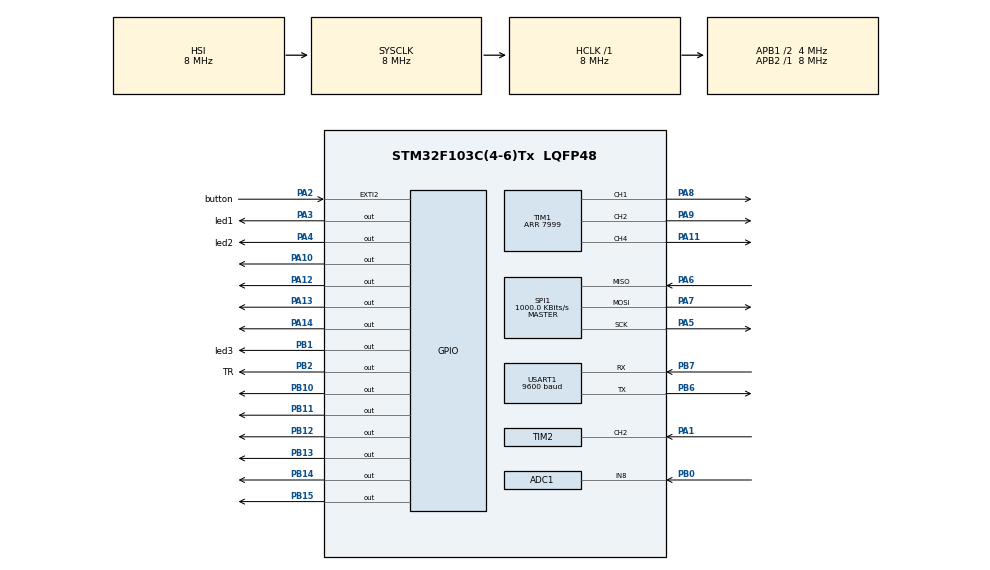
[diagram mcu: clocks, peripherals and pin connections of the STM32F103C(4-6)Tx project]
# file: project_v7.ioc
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ADC1.Channel-7\#ChannelRegularConversion=ADC_CHANNEL_8
ADC1.ContinuousConvMode=DISABLE
ADC1.EnableRegularConversion=ENABLE
ADC1.ExternalTrigConv=ADC_EXTERNALTRIGCONV_T3_TRGO
ADC1.NbrOfConversionFlag=1
ADC1.Rank-7\#ChannelRegularConversion=1
ADC1.SamplingTime-7\#ChannelRegularConversion=ADC_SAMPLETIME_55CYCLES_5
ADC1.master=1
Dma.Request0=SPI1_RX
Dma.SPI1_RX.0.Direction=DMA_PERIPH_TO_MEMORY
Dma.SPI1_RX.0.Instance=DMA1_Channel2
Dma.SPI1_RX.0.MemDataAlignment=DMA_MDATAALIGN_BYTE
Dma.SPI1_RX.0.MemInc=DMA_MINC_ENABLE
Dma.SPI1_RX.0.Mode=DMA_CIRCULAR
Dma.SPI1_RX.0.PeriphDataAlignment=DMA_PDATAALIGN_BYTE
Dma.SPI1_RX.0.PeriphInc=DMA_PINC_DISABLE
Dma.SPI1_RX.0.Priority=DMA_PRIORITY_LOW
Mcu.Family=STM32F1
Mcu.Name=STM32F103C(4-6)Tx
Mcu.Package=LQFP48
NVIC.ADC1_2_IRQn=true\:3\:0\:true\:false\:true\:true\:true
NVIC.DMA1_Channel2_IRQn=true\:0\:0\:false\:false\:true\:false\:true
NVIC.EXTI2_IRQn=true\:1\:0\:true\:false\:true\:true\:true
NVIC.PriorityGroup=NVIC_PRIORITYGROUP_4
NVIC.TIM2_IRQn=true\:4\:0\:true\:false\:true\:true\:true
NVIC.TIM3_IRQn=true\:2\:0\:true\:false\:true\:true\:true
PA1.Signal=S_TIM2_CH2
PA10.Signal=GPIO_Output
PA11.Signal=S_TIM1_CH4
PA12.Signal=GPIO_Output
PA13.Signal=GPIO_Output
PA14.Signal=GPIO_Output
PA2.GPIO_Label=button
PA2.GPIO_PuPd=GPIO_PULLDOWN
PA2.Signal=GPXTI2
PA3.GPIO_Label=led1
PA3.Signal=GPIO_Output
PA4.GPIO_Label=led2
PA4.Signal=GPIO_Output
PA5.Mode=Full_Duplex_Master
PA5.Signal=SPI1_SCK
PA6.Mode=Full_Duplex_Master
PA6.Signal=SPI1_MISO
PA7.Mode=Full_Duplex_Master
PA7.Signal=SPI1_MOSI
PA8.Signal=S_TIM1_CH1
PA9.Signal=S_TIM1_CH2
PB0.Signal=ADCx_IN8
PB1.GPIO_Label=led3
PB1.Signal=GPIO_Output
PB10.Signal=GPIO_Output
PB11.Signal=GPIO_Output
PB12.Signal=GPIO_Output
PB13.Signal=GPIO_Output
PB14.Signal=GPIO_Output
PB15.Signal=GPIO_Output
PB2.GPIO_Label=TR
PB2.Signal=GPIO_Output
PB6.Mode=Asynchronous
PB6.Signal=USART1_TX
PB7.Mode=Asynchronous
PB7.Signal=USART1_RX
PD0-OSC_IN.Mode=HSE-External-Oscillator
PD0-OSC_IN.Signal=RCC_OSC_IN
PD1-OSC_OUT.Mode=HSE-External-Oscillator
PD1-OSC_OUT.Signal=RCC_OSC_OUT
ProjectManager.HeapSize=0x200
ProjectManager.StackSize=0x400
ProjectManager.TargetToolchain=MDK-ARM V5.32
RCC.AHBFreq_Value=8000000
RCC.APB1CLKDivider=RCC_HCLK_DIV2
RCC.APB1Freq_Value=4000000
RCC.APB1TimFreq_Value=8000000
RCC.APB2Freq_Value=8000000
RCC.APB2TimFreq_Value=8000000
RCC.HCLKFreq_Value=8000000
RCC.PLLMUL=RCC_PLL_MUL9
RCC.SYSCLKFreq_VALUE=8000000
RCC.USBFreq_Value=36000000
SH.ADCx_IN8.0=ADC1_IN8,IN8
SH.S_TIM1_CH1.0=TIM1_CH1,PWM Generation1 CH1
SH.S_TIM1_CH2.0=TIM1_CH2,PWM Generation2 CH2
SH.S_TIM1_CH4.0=TIM1_CH4,Output Compare4 CH4
SH.S_TIM2_CH2.0=TIM2_CH2,Input_Capture2_from_TI2
SPI1.BaudRatePrescaler=SPI_BAUDRATEPRESCALER_8
SPI1.CalculateBaudRate=1000.0 KBits/s
SPI1.Direction=SPI_DIRECTION_2LINES
SPI1.Mode=SPI_MODE_MASTER
SPI1.VirtualType=VM_MASTER
TIM1.Channel-Output\ Compare4\ CH4=TIM_CHANNEL_4
TIM1.Channel-PWM\ Generation1\ CH1=TIM_CHANNEL_1
TIM1.Channel-PWM\ Generation2\ CH2=TIM_CHANNEL_2
TIM1.OCMode_4=TIM_OCMODE_TOGGLE
TIM1.Period=7999
TIM2.Channel-Input_Capture2_from_TI2=TIM_CHANNEL_2
TIM2.Period=65534
TIM2.Prescaler=7
TIM3.AutoReloadPreload=TIM_AUTORELOAD_PRELOAD_ENABLE
TIM3.Period=63999
TIM3.Prescaler=124
TIM3.TIM_MasterOutputTrigger=TIM_TRGO_UPDATE
TIM3.TIM_MasterSlaveMode=TIM_MASTERSLAVEMODE_ENABLE
USART1.BaudRate=9600
USART1.Mode=MODE_TX
USART1.VirtualMode=VM_ASYNC
VP_SYS_VS_ND.Mode=No_Debug
VP_TIM1_VS_ClockSourceINT.Mode=Internal
VP_TIM3_VS_ClockSourceINT.Mode=Internal
board=custom

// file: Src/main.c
/* USER CODE BEGIN Header */
/**
  ******************************************************************************
  * @file           : main.c
  * @brief          : Main program body
  ******************************************************************************
  * @attention
  *
  * Copyright (c) 2022 STMicroelectronics.
  * All rights reserved.
  *
  * This software is licensed under terms that can be found in the LICENSE file
  * in the root directory of this software component.
  * If no LICENSE file comes with this software, it is provided AS-IS.
  *
  ******************************************************************************
  */
/* USER CODE END Header */
#include "main.h"

/* USER CODE BEGIN Includes */
#include "lcd_txt.h"
#include <math.h>
#include <stdbool.h>
#include <stdio.h>
#include <string.h>
#include "functions.h"
/* USER CODE END Includes */

ADC_HandleTypeDef hadc1;

SPI_HandleTypeDef hspi1;
DMA_HandleTypeDef hdma_spi1_rx;

TIM_HandleTypeDef htim1;
TIM_HandleTypeDef htim2;
TIM_HandleTypeDef htim3;

UART_HandleTypeDef huart1;

/* USER CODE BEGIN PV */
bool start = false;
uint32_t ADCVal = 0;

uint32_t IC_Val1 = 0;
uint32_t IC_Val2 = 0;
uint32_t Difference = 0;
uint8_t Is_First_Captured = 0;
uint8_t Distance  = 0;

int night = 0;
/* USER CODE END PV */

void SystemClock_Config(void);
static void MX_GPIO_Init(void);
static void MX_ADC1_Init(void);
static void MX_TIM1_Init(void);
static void MX_USART1_UART_Init(void);
static void MX_TIM2_Init(void);
static void MX_TIM3_Init(void);
static void MX_DMA_Init(void);
static void MX_SPI1_Init(void);

/* USER CODE BEGIN 0 */

void Delay(uint16_t time) {
	__HAL_TIM_SET_COUNTER(&htim2, 0);
	while (__HAL_TIM_GET_COUNTER (&htim2) < time);
}

void HCSR04_Read(void) {
	HAL_GPIO_WritePin(TR_GPIO_Port, TR_Pin, GPIO_PIN_SET);
	Delay(10);
	HAL_GPIO_WritePin(TR_GPIO_Port, TR_Pin, GPIO_PIN_RESET);

	__HAL_TIM_ENABLE_IT(&htim2, TIM_IT_CC2);
}

//Movement of robot
void TurnRight() {
	TIM1->CCR1 = 4000;
	TIM1->CCR2 = 7999;

	lcd_clear();
	lcd_puts(0, 0, (int8_t *) "Turning right");
}

void TurnLeft() {
	TIM1->CCR1 = 7999;
	TIM1->CCR2 = 4000;

	lcd_clear();
	lcd_puts(0, 0, (int8_t *) "Turning left");
}

void MoveForward() {
	TIM1->CCR1 = 0;
	TIM1->CCR2 = 0;

	lcd_clear();
	lcd_puts(0, 0, (int8_t *) "Moving forward");
}

void Stop() {
	TIM1->CCR1 = 7999;
	TIM1->CCR2 = 7999;

	lcd_clear();
	lcd_puts(0, 0, (int8_t *) "Stopped");
}

/* USER CODE END 0 */

int main(void)
{

  /* MCU Configuration--------------------------------------------------------*/

  /* Reset of all peripherals, Initializes the Flash interface and the Systick. */
  HAL_Init();

  /* Configure the system clock */
  SystemClock_Config();

  /* Initialize all configured peripherals */
  MX_GPIO_Init();
  MX_ADC1_Init();
  MX_TIM1_Init();
  MX_USART1_UART_Init();
  MX_TIM2_Init();
  MX_TIM3_Init();
  MX_DMA_Init();
  MX_SPI1_Init();

  /* Infinite loop */
  /* USER CODE BEGIN WHILE */

	//SPI
	HAL_GPIO_WritePin(GPIOB, GPIO_PIN_13, GPIO_PIN_SET);
	HAL_GPIO_WritePin(GPIOB, GPIO_PIN_14, GPIO_PIN_SET);

	//Initialize Motors
	if(HAL_TIM_PWM_Start(&htim1, TIM_CHANNEL_1) != HAL_OK)
		Error_Handler();
	if(HAL_TIM_PWM_Start(&htim1, TIM_CHANNEL_2) != HAL_OK)
		Error_Handler();
	Stop();

	//ADC
	if(HAL_TIM_Base_Start_IT(&htim3) != HAL_OK)
				Error_Handler();

	if(HAL_TIM_OC_Start(&htim1, TIM_CHANNEL_4) != HAL_OK)
				Error_Handler();

	//Distance
	if(HAL_TIM_IC_Start_IT(&htim2, TIM_CHANNEL_2) != HAL_OK)
		Error_Handler();

	initialize();

	lcd_init();

  while (1)
  {
    /* USER CODE END WHILE */

  }
}

void SystemClock_Config(void)
{
  RCC_OscInitTypeDef RCC_OscInitStruct = {0};
  RCC_ClkInitTypeDef RCC_ClkInitStruct = {0};
  RCC_PeriphCLKInitTypeDef PeriphClkInit = {0};

  /** Initializes the RCC Oscillators according to the specified parameters
  * in the RCC_OscInitTypeDef structure.
  */
  RCC_OscInitStruct.OscillatorType = RCC_OSCILLATORTYPE_HSI;
  RCC_OscInitStruct.HSIState = RCC_HSI_ON;
  RCC_OscInitStruct.HSICalibrationValue = RCC_HSICALIBRATION_DEFAULT;
  RCC_OscInitStruct.PLL.PLLState = RCC_PLL_NONE;
  if (HAL_RCC_OscConfig(&RCC_OscInitStruct) != HAL_OK)
  {
    Error_Handler();
  }
  /** Initializes the CPU, AHB and APB buses clocks
  */
  RCC_ClkInitStruct.ClockType = RCC_CLOCKTYPE_HCLK|RCC_CLOCKTYPE_SYSCLK
                              |RCC_CLOCKTYPE_PCLK1|RCC_CLOCKTYPE_PCLK2;
  RCC_ClkInitStruct.SYSCLKSource = RCC_SYSCLKSOURCE_HSI;
  RCC_ClkInitStruct.AHBCLKDivider = RCC_SYSCLK_DIV1;
  RCC_ClkInitStruct.APB1CLKDivider = RCC_HCLK_DIV2;
  RCC_ClkInitStruct.APB2CLKDivider = RCC_HCLK_DIV1;

  if (HAL_RCC_ClockConfig(&RCC_ClkInitStruct, FLASH_LATENCY_0) != HAL_OK)
  {
    Error_Handler();
  }
  PeriphClkInit.PeriphClockSelection = RCC_PERIPHCLK_ADC;
  PeriphClkInit.AdcClockSelection = RCC_ADCPCLK2_DIV2;
  if (HAL_RCCEx_PeriphCLKConfig(&PeriphClkInit) != HAL_OK)
  {
    Error_Handler();
  }
}

static void MX_ADC1_Init(void)
{

  ADC_ChannelConfTypeDef sConfig = {0};

  /** Common config
  */
  hadc1.Instance = ADC1;
  hadc1.Init.ScanConvMode = ADC_SCAN_DISABLE;
  hadc1.Init.ContinuousConvMode = DISABLE;
  hadc1.Init.DiscontinuousConvMode = DISABLE;
  hadc1.Init.ExternalTrigConv = ADC_EXTERNALTRIGCONV_T3_TRGO;
  hadc1.Init.DataAlign = ADC_DATAALIGN_RIGHT;
  hadc1.Init.NbrOfConversion = 1;
  if (HAL_ADC_Init(&hadc1) != HAL_OK)
  {
    Error_Handler();
  }
  /** Configure Regular Channel
  */
  sConfig.Channel = ADC_CHANNEL_8;
  sConfig.Rank = ADC_REGULAR_RANK_1;
  sConfig.SamplingTime = ADC_SAMPLETIME_55CYCLES_5;
  if (HAL_ADC_ConfigChannel(&hadc1, &sConfig) != HAL_OK)
  {
    Error_Handler();
  }

}

static void MX_SPI1_Init(void)
{

  /* SPI1 parameter configuration*/
  hspi1.Instance = SPI1;
  hspi1.Init.Mode = SPI_MODE_MASTER;
  hspi1.Init.Direction = SPI_DIRECTION_2LINES;
  hspi1.Init.DataSize = SPI_DATASIZE_8BIT;
  hspi1.Init.CLKPolarity = SPI_POLARITY_LOW;
  hspi1.Init.CLKPhase = SPI_PHASE_1EDGE;
  hspi1.Init.NSS = SPI_NSS_SOFT;
  hspi1.Init.BaudRatePrescaler = SPI_BAUDRATEPRESCALER_8;
  hspi1.Init.FirstBit = SPI_FIRSTBIT_MSB;
  hspi1.Init.TIMode = SPI_TIMODE_DISABLE;
  hspi1.Init.CRCCalculation = SPI_CRCCALCULATION_DISABLE;
  hspi1.Init.CRCPolynomial = 10;
  if (HAL_SPI_Init(&hspi1) != HAL_OK)
  {
    Error_Handler();
  }

}

static void MX_TIM1_Init(void)
{

  TIM_ClockConfigTypeDef sClockSourceConfig = {0};
  TIM_MasterConfigTypeDef sMasterConfig = {0};
  TIM_OC_InitTypeDef sConfigOC = {0};
  TIM_BreakDeadTimeConfigTypeDef sBreakDeadTimeConfig = {0};

  htim1.Instance = TIM1;
  htim1.Init.Prescaler = 0;
  htim1.Init.CounterMode = TIM_COUNTERMODE_UP;
  htim1.Init.Period = 7999;
  htim1.Init.ClockDivision = TIM_CLOCKDIVISION_DIV1;
  htim1.Init.RepetitionCounter = 0;
  htim1.Init.AutoReloadPreload = TIM_AUTORELOAD_PRELOAD_DISABLE;
  if (HAL_TIM_Base_Init(&htim1) != HAL_OK)
  {
    Error_Handler();
  }
  sClockSourceConfig.ClockSource = TIM_CLOCKSOURCE_INTERNAL;
  if (HAL_TIM_ConfigClockSource(&htim1, &sClockSourceConfig) != HAL_OK)
  {
    Error_Handler();
  }
  if (HAL_TIM_PWM_Init(&htim1) != HAL_OK)
  {
    Error_Handler();
  }
  if (HAL_TIM_OC_Init(&htim1) != HAL_OK)
  {
    Error_Handler();
  }
  sMasterConfig.MasterOutputTrigger = TIM_TRGO_RESET;
  sMasterConfig.MasterSlaveMode = TIM_MASTERSLAVEMODE_DISABLE;
  if (HAL_TIMEx_MasterConfigSynchronization(&htim1, &sMasterConfig) != HAL_OK)
  {
    Error_Handler();
  }
  sConfigOC.OCMode = TIM_OCMODE_PWM1;
  sConfigOC.Pulse = 0;
  sConfigOC.OCPolarity = TIM_OCPOLARITY_HIGH;
  sConfigOC.OCNPolarity = TIM_OCNPOLARITY_HIGH;
  sConfigOC.OCFastMode = TIM_OCFAST_DISABLE;
  sConfigOC.OCIdleState = TIM_OCIDLESTATE_RESET;
  sConfigOC.OCNIdleState = TIM_OCNIDLESTATE_RESET;
  if (HAL_TIM_PWM_ConfigChannel(&htim1, &sConfigOC, TIM_CHANNEL_1) != HAL_OK)
  {
    Error_Handler();
  }
  if (HAL_TIM_PWM_ConfigChannel(&htim1, &sConfigOC, TIM_CHANNEL_2) != HAL_OK)
  {
    Error_Handler();
  }
  sConfigOC.OCMode = TIM_OCMODE_TOGGLE;
  if (HAL_TIM_OC_ConfigChannel(&htim1, &sConfigOC, TIM_CHANNEL_4) != HAL_OK)
  {
    Error_Handler();
  }
  sBreakDeadTimeConfig.OffStateRunMode = TIM_OSSR_DISABLE;
  sBreakDeadTimeConfig.OffStateIDLEMode = TIM_OSSI_DISABLE;
  sBreakDeadTimeConfig.LockLevel = TIM_LOCKLEVEL_OFF;
  sBreakDeadTimeConfig.DeadTime = 0;
  sBreakDeadTimeConfig.BreakState = TIM_BREAK_DISABLE;
  sBreakDeadTimeConfig.BreakPolarity = TIM_BREAKPOLARITY_HIGH;
  sBreakDeadTimeConfig.AutomaticOutput = TIM_AUTOMATICOUTPUT_DISABLE;
  if (HAL_TIMEx_ConfigBreakDeadTime(&htim1, &sBreakDeadTimeConfig) != HAL_OK)
  {
    Error_Handler();
  }
  HAL_TIM_MspPostInit(&htim1);

}

static void MX_TIM2_Init(void)
{

  TIM_MasterConfigTypeDef sMasterConfig = {0};
  TIM_IC_InitTypeDef sConfigIC = {0};

  htim2.Instance = TIM2;
  htim2.Init.Prescaler = 7;
  htim2.Init.CounterMode = TIM_COUNTERMODE_UP;
  htim2.Init.Period = 65534;
  htim2.Init.ClockDivision = TIM_CLOCKDIVISION_DIV1;
  htim2.Init.AutoReloadPreload = TIM_AUTORELOAD_PRELOAD_DISABLE;
  if (HAL_TIM_IC_Init(&htim2) != HAL_OK)
  {
    Error_Handler();
  }
  sMasterConfig.MasterOutputTrigger = TIM_TRGO_RESET;
  sMasterConfig.MasterSlaveMode = TIM_MASTERSLAVEMODE_DISABLE;
  if (HAL_TIMEx_MasterConfigSynchronization(&htim2, &sMasterConfig) != HAL_OK)
  {
    Error_Handler();
  }
  sConfigIC.ICPolarity = TIM_INPUTCHANNELPOLARITY_RISING;
  sConfigIC.ICSelection = TIM_ICSELECTION_DIRECTTI;
  sConfigIC.ICPrescaler = TIM_ICPSC_DIV1;
  sConfigIC.ICFilter = 0;
  if (HAL_TIM_IC_ConfigChannel(&htim2, &sConfigIC, TIM_CHANNEL_2) != HAL_OK)
  {
    Error_Handler();
  }

}

static void MX_TIM3_Init(void)
{

  TIM_ClockConfigTypeDef sClockSourceConfig = {0};
  TIM_MasterConfigTypeDef sMasterConfig = {0};

  htim3.Instance = TIM3;
  htim3.Init.Prescaler = 124;
  htim3.Init.CounterMode = TIM_COUNTERMODE_UP;
  htim3.Init.Period = 63999;
  htim3.Init.ClockDivision = TIM_CLOCKDIVISION_DIV1;
  htim3.Init.AutoReloadPreload = TIM_AUTORELOAD_PRELOAD_ENABLE;
  if (HAL_TIM_Base_Init(&htim3) != HAL_OK)
  {
    Error_Handler();
  }
  sClockSourceConfig.ClockSource = TIM_CLOCKSOURCE_INTERNAL;
  if (HAL_TIM_ConfigClockSource(&htim3, &sClockSourceConfig) != HAL_OK)
  {
    Error_Handler();
  }
  sMasterConfig.MasterOutputTrigger = TIM_TRGO_UPDATE;
  sMasterConfig.MasterSlaveMode = TIM_MASTERSLAVEMODE_ENABLE;
  if (HAL_TIMEx_MasterConfigSynchronization(&htim3, &sMasterConfig) != HAL_OK)
  {
    Error_Handler();
  }

}

static void MX_USART1_UART_Init(void)
{

  huart1.Instance = USART1;
  huart1.Init.BaudRate = 9600;
  huart1.Init.WordLength = UART_WORDLENGTH_8B;
  huart1.Init.StopBits = UART_STOPBITS_1;
  huart1.Init.Parity = UART_PARITY_NONE;
  huart1.Init.Mode = UART_MODE_TX;
  huart1.Init.HwFlowCtl = UART_HWCONTROL_NONE;
  huart1.Init.OverSampling = UART_OVERSAMPLING_16;
  if (HAL_UART_Init(&huart1) != HAL_OK)
  {
    Error_Handler();
  }

}

static void MX_DMA_Init(void)
{

  /* DMA controller clock enable */
  __HAL_RCC_DMA1_CLK_ENABLE();

  /* DMA interrupt init */
  /* DMA1_Channel2_IRQn interrupt configuration */
  HAL_NVIC_SetPriority(DMA1_Channel2_IRQn, 0, 0);
  HAL_NVIC_EnableIRQ(DMA1_Channel2_IRQn);

}

static void MX_GPIO_Init(void)
{
  GPIO_InitTypeDef GPIO_InitStruct = {0};

  /* GPIO Ports Clock Enable */
  __HAL_RCC_GPIOD_CLK_ENABLE();
  __HAL_RCC_GPIOA_CLK_ENABLE();
  __HAL_RCC_GPIOB_CLK_ENABLE();

  /*Configure GPIO pin Output Level */
  HAL_GPIO_WritePin(GPIOA, led1_Pin|led2_Pin|GPIO_PIN_10|GPIO_PIN_12
                          |GPIO_PIN_13|GPIO_PIN_14, GPIO_PIN_RESET);

  /*Configure GPIO pin Output Level */
  HAL_GPIO_WritePin(GPIOB, led3_Pin|TR_Pin|GPIO_PIN_10|GPIO_PIN_11
                          |GPIO_PIN_12|GPIO_PIN_13|GPIO_PIN_14|GPIO_PIN_15, GPIO_PIN_RESET);

  /*Configure GPIO pin : button_Pin */
  GPIO_InitStruct.Pin = button_Pin;
  GPIO_InitStruct.Mode = GPIO_MODE_IT_RISING;
  GPIO_InitStruct.Pull = GPIO_PULLDOWN;
  HAL_GPIO_Init(button_GPIO_Port, &GPIO_InitStruct);

  /*Configure GPIO pins : led1_Pin led2_Pin PA10 PA12
                           PA13 PA14 */
  GPIO_InitStruct.Pin = led1_Pin|led2_Pin|GPIO_PIN_10|GPIO_PIN_12
                          |GPIO_PIN_13|GPIO_PIN_14;
  GPIO_InitStruct.Mode = GPIO_MODE_OUTPUT_PP;
  GPIO_InitStruct.Pull = GPIO_NOPULL;
  GPIO_InitStruct.Speed = GPIO_SPEED_FREQ_LOW;
  HAL_GPIO_Init(GPIOA, &GPIO_InitStruct);

  /*Configure GPIO pins : led3_Pin TR_Pin PB10 PB11
                           PB12 PB13 PB14 PB15 */
  GPIO_InitStruct.Pin = led3_Pin|TR_Pin|GPIO_PIN_10|GPIO_PIN_11
                          |GPIO_PIN_12|GPIO_PIN_13|GPIO_PIN_14|GPIO_PIN_15;
  GPIO_InitStruct.Mode = GPIO_MODE_OUTPUT_PP;
  GPIO_InitStruct.Pull = GPIO_NOPULL;
  GPIO_InitStruct.Speed = GPIO_SPEED_FREQ_LOW;
  HAL_GPIO_Init(GPIOB, &GPIO_InitStruct);

  /* EXTI interrupt init*/
  HAL_NVIC_SetPriority(EXTI2_IRQn, 1, 0);
  HAL_NVIC_EnableIRQ(EXTI2_IRQn);

}

/* USER CODE BEGIN 4 */

void HAL_GPIO_EXTI_Callback(uint16_t GPIO_Pin)
{
	if(GPIO_Pin == button_Pin) {
		if (start == false) {
			start = true;
		}
		else {
			HAL_GPIO_WritePin(led3_GPIO_Port, led3_Pin, GPIO_PIN_RESET);
			start = false;
		}
  }
}

void HAL_TIM_PeriodElapsedCallback(TIM_HandleTypeDef *htim)
{
	HAL_GPIO_TogglePin(GPIOB, GPIO_PIN_15);
	if(HAL_ADC_Start_IT(&hadc1) != HAL_OK)
				Error_Handler();

	//SPI
	char spi_buf[1];
	HAL_GPIO_WritePin(GPIOB, GPIO_PIN_13, GPIO_PIN_RESET);
  HAL_SPI_Receive(&hspi1, (uint8_t*)spi_buf, 1, 100);
  HAL_GPIO_WritePin(GPIOB, GPIO_PIN_13, GPIO_PIN_SET);

	char spi_buf_2[1];
	HAL_GPIO_WritePin(GPIOB, GPIO_PIN_14, GPIO_PIN_RESET);
  HAL_SPI_Receive(&hspi1, (uint8_t*)spi_buf_2, 1, 100);
	HAL_GPIO_WritePin(GPIOB, GPIO_PIN_14, GPIO_PIN_SET);

  char buff[100];
	int buf_len = sprintf(buff, "----------------\n\rWeather %d degrees\n\rLight value: %d\n\r", (int)spi_buf[0]*2, (int)spi_buf_2[0]);
	HAL_UART_Transmit(&huart1, (uint8_t*)buff, buf_len, 100);

	if((int)spi_buf_2[0] < 10)
		night = 1;
	else
		night = 0;

	//Distance
	HCSR04_Read();
}

void HAL_ADC_ConvCpltCallback(ADC_HandleTypeDef* hadc)
{
	if(hadc->Instance == ADC1) {
		ADCVal = HAL_ADC_GetValue(&hadc1);

		float res = ((int)ADCVal)/4096.0 * 100;

			if (ADCVal > 0x400)  {
				HAL_GPIO_WritePin(led1_GPIO_Port, led1_Pin, GPIO_PIN_RESET);
				HAL_GPIO_WritePin(led2_GPIO_Port, led2_Pin, GPIO_PIN_SET);
				HAL_GPIO_WritePin(led3_GPIO_Port, led3_Pin, GPIO_PIN_RESET);

			  char str[30];
				sprintf(str, "(%.1f) Battery is high\n\r", res);
				HAL_UART_Transmit(&huart1, (uint8_t*)str, strlen(str), 100);
			}
			else {
				HAL_GPIO_WritePin(led1_GPIO_Port, led1_Pin, GPIO_PIN_SET);
				HAL_GPIO_WritePin(led2_GPIO_Port, led2_Pin, GPIO_PIN_RESET);
				HAL_GPIO_WritePin(led3_GPIO_Port, led3_Pin, GPIO_PIN_RESET);

				char str[30];
				sprintf(str, "(%.1f) Battery is low\n\r", res);
				HAL_UART_Transmit(&huart1, (uint8_t*)str, strlen(str), 100);
			}
	}
}

void HAL_ADC_ErrorCallback(ADC_HandleTypeDef *hadc)
{
	Error_Handler();
}

void HAL_TIM_IC_CaptureCallback(TIM_HandleTypeDef *htim)
{
  if (htim == &htim2 && htim->Channel == HAL_TIM_ACTIVE_CHANNEL_2)
	{
		if (Is_First_Captured==0)
		{
			/*char str[20];
			sprintf(str, "start %d\n\r", (int)HAL_GetTick());
			HAL_UART_Transmit(&huart1, (uint8_t*)str, strlen(str), 100);*/

			IC_Val1 = HAL_TIM_ReadCapturedValue(htim, TIM_CHANNEL_2);
			Is_First_Captured = 1;
			__HAL_TIM_SET_CAPTUREPOLARITY(htim, TIM_CHANNEL_2, TIM_INPUTCHANNELPOLARITY_FALLING);
		}

		else if (Is_First_Captured==1)
		{
			/*char str[20];
			sprintf(str, "stop %d\n\r", (int)HAL_GetTick());
			HAL_UART_Transmit(&huart1, (uint8_t*)str, strlen(str), 100);*/

			IC_Val2 = HAL_TIM_ReadCapturedValue(htim, TIM_CHANNEL_2);
			__HAL_TIM_SET_COUNTER(htim, 0);

			if (IC_Val2 > IC_Val1)
			{
				Difference = IC_Val2-IC_Val1;
			}

			else if (IC_Val1 > IC_Val2)
			{
				Difference = (0xffff - IC_Val1) + IC_Val2;
			}

			Distance = Difference * .034/2;
			Is_First_Captured = 0;

			//Move Robot
			if(start == true && ADCVal > 0x400 && night == 1) {
			  HAL_GPIO_TogglePin(led3_GPIO_Port, led3_Pin);

				recursive((int)Distance);
		  }
			else if(start == false || ADCVal <= 0x400 || night == 0) {
				Stop();
			}

			__HAL_TIM_SET_CAPTUREPOLARITY(htim, TIM_CHANNEL_2, TIM_INPUTCHANNELPOLARITY_RISING);
			__HAL_TIM_DISABLE_IT(&htim2, TIM_IT_CC2);
		}
	}
}

/*void HAL_SPI_RxCpltCallback(SPI_HandleTypeDef *hspi)
{

}*/

/* USER CODE END 4 */

void Error_Handler(void)
{
  /* USER CODE BEGIN Error_Handler_Debug */
  HAL_GPIO_WritePin(led2_GPIO_Port, led2_Pin, GPIO_PIN_RESET);
	HAL_GPIO_WritePin(led3_GPIO_Port, led3_Pin, GPIO_PIN_RESET);
	HAL_GPIO_WritePin(led1_GPIO_Port, led1_Pin, GPIO_PIN_SET);
  while (1)
  {

  }
  /* USER CODE END Error_Handler_Debug */
}
